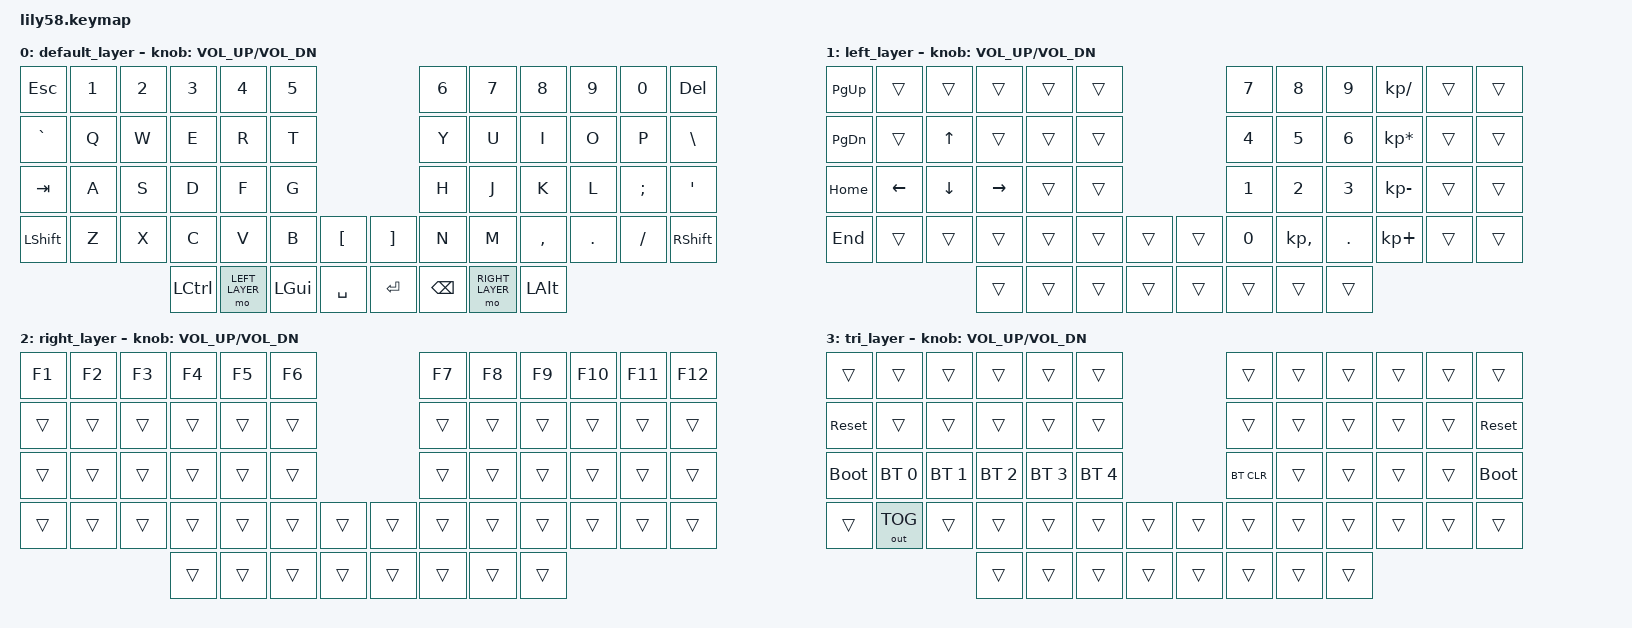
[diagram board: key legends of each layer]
/*
 * Copyright (c) 2020 The ZMK Contributors
 *
 * SPDX-License-Identifier: MIT
 */

#include <behaviors.dtsi>
#include <dt-bindings/zmk/bt.h>
#include <dt-bindings/zmk/keys.h>
#include <dt-bindings/zmk/outputs.h>

#define DEFAULT 0
#define LEFT_LAYER 1
#define RIGHT_LAYER 2
#define TRI_LAYER 3

/ {
    keymap {
        compatible = "zmk,keymap";

        default_layer {
            // ------------------------------------------------------------------------------------------------------------
            // |  ESC  |  1  |  2  |   3   |  4   |  5   |                   |  6   |  7    |  8    |  9   |   0   |  DEL  |
            // |   `   |  Q  |  W  |   E   |  R   |  T   |                   |  Y   |  U    |  I    |  O   |   P   |   \   |
            // |  TAB  |  A  |  S  |   D   |  F   |  G   |                   |  H   |  J    |  K    |  L   |   ;   |   '   |
            // | SHIFT |  Z  |  X  |   C   |  V   |  B   |   "["  |  |  "]"  |  N   |  M    |  ,    |  .   |   /   | SHIFT |
            //                     | LOWER | CTRL | GUI  |  SPACE |  | ENTER | BSPC |  ALT  | RAISE |

            bindings = <
&kp ESC    &kp N1  &kp N2  &kp N3     &kp N4          &kp N5                           &kp N6    &kp N7           &kp N8     &kp N9   &kp N0    &kp DEL
&kp GRAVE  &kp Q   &kp W   &kp E      &kp R           &kp T                            &kp Y     &kp U            &kp I      &kp O    &kp P     &kp BSLH
&kp TAB    &kp A   &kp S   &kp D      &kp F           &kp G                            &kp H     &kp J            &kp K      &kp L    &kp SEMI  &kp SQT
&kp LSHFT  &kp Z   &kp X   &kp C      &kp V           &kp B     &kp LBKT     &kp RBKT  &kp N     &kp M            &kp COMMA  &kp DOT  &kp FSLH  &kp RSHIFT
                           &kp LCTRL  &mo LEFT_LAYER  &kp LGUI  &kp SPACE    &kp RET   &kp BSPC  &mo RIGHT_LAYER  &kp LALT
            >;

            sensor-bindings = <&inc_dec_kp C_VOL_UP C_VOL_DN>;
        };

        left_layer {
            // ------------------------------------------------------------------------------------------------------------
            // | PG_UP |     |     |      |      |      |                    |   7   |   8   |   9   |   /   |      |       |
            // | PG_DN |     |    |      |      |      |                    |   4   |   5   |   6   |   *   |      |       |
            // |  HOME |    |    |     |      |      |                    |   1   |   2   |   3   |   -   |      |       |
            // |  END  |     |     |      |      |      |         |  |       |   0   |   ,   |   .   |   +   |      |       |
            //                     |      |      |      |         |  |       |       |       |       |

            bindings = <
&kp PG_UP  &trans    &trans    &trans     &trans  &trans                    &kp N7  &kp N8        &kp N9      &kp KP_DIVIDE    &trans  &trans
&kp PG_DN  &trans    &kp UP    &trans     &trans  &trans                    &kp N4  &kp N5        &kp N6      &kp KP_MULTIPLY  &trans  &trans
&kp HOME   &kp LEFT  &kp DOWN  &kp RIGHT  &trans  &trans                    &kp N1  &kp N2        &kp N3      &kp KP_SUBTRACT  &trans  &trans
&kp END    &trans    &trans    &trans     &trans  &trans  &trans    &trans  &kp N0  &kp KP_COMMA  &kp PERIOD  &kp KP_PLUS      &trans  &trans
                               &trans     &trans  &trans  &trans    &trans  &trans  &trans        &trans
            >;

            sensor-bindings = <&inc_dec_kp C_VOL_UP C_VOL_DN>;
        };

        right_layer {
            //  ------------------------------------------------------------------------------------
            // | F1 | F2 | F3 | F4 | F5 | F6 |                   | F7 | F8  | F9  | F10 | F11 | F12 |
            // |    |    |    |    |    |    |                   |    |     |     |     |     |     |
            // |    |    |    |    |    |    |                   |    |     |     |     |     |     |
            // |    |    |    |    |    |    |       |  |        |    |     |     |     |     |     |
            //                |    |    |    |       |  |        |    |     |     |

            bindings = <
&kp F1  &kp F2  &kp F3  &kp F4  &kp F5  &kp F6                    &kp F7  &kp F8  &kp F9  &kp F10  &kp F11  &kp F12
&trans  &trans  &trans  &trans  &trans  &trans                    &trans  &trans  &trans  &trans   &trans   &trans
&trans  &trans  &trans  &trans  &trans  &trans                    &trans  &trans  &trans  &trans   &trans   &trans
&trans  &trans  &trans  &trans  &trans  &trans  &trans    &trans  &trans  &trans  &trans  &trans   &trans   &trans
                        &trans  &trans  &trans  &trans    &trans  &trans  &trans  &trans
            >;

            sensor-bindings = <&inc_dec_kp C_VOL_UP C_VOL_DN>;
        };

        tri_layer {
            //  -------------------------------------------------------------------------------------------
            // |     |     |     |     |     |     |                   |     |     |     |     |     |     |
            // | RST |     |     |     |     |     |                   |     |     |     |     |     | RST |
            // | BTL | BT0 | BT1 | BT2 | BT3 | BT4 |                   | BTR |     |     |     |     | BTL |
            // |     | OUT |     |     |     |     |       |  |        |     |     |     |     |     |     |
            //                   |     |     |     |       |  |        |     |     |     |

            bindings = <
&trans       &trans        &trans        &trans        &trans        &trans                          &trans      &trans  &trans  &trans  &trans  &trans
&sys_reset   &trans        &trans        &trans        &trans        &trans                          &trans      &trans  &trans  &trans  &trans  &sys_reset
&bootloader  &bt BT_SEL 0  &bt BT_SEL 1  &bt BT_SEL 2  &bt BT_SEL 3  &bt BT_SEL 4                    &bt BT_CLR  &trans  &trans  &trans  &trans  &bootloader
&trans       &out OUT_TOG  &trans        &trans        &trans        &trans        &trans    &trans  &trans      &trans  &trans  &trans  &trans  &trans
                                         &trans        &trans        &trans        &trans    &trans  &trans      &trans  &trans
            >;

            sensor-bindings = <&inc_dec_kp C_VOL_UP C_VOL_DN>;
        };
    };

    conditional_layers {
        compatible = "zmk,conditional-layers";

        TRI_LAYER {
            if-layers = <1 2>;
            then-layer = <3>;
        };
    };
};
